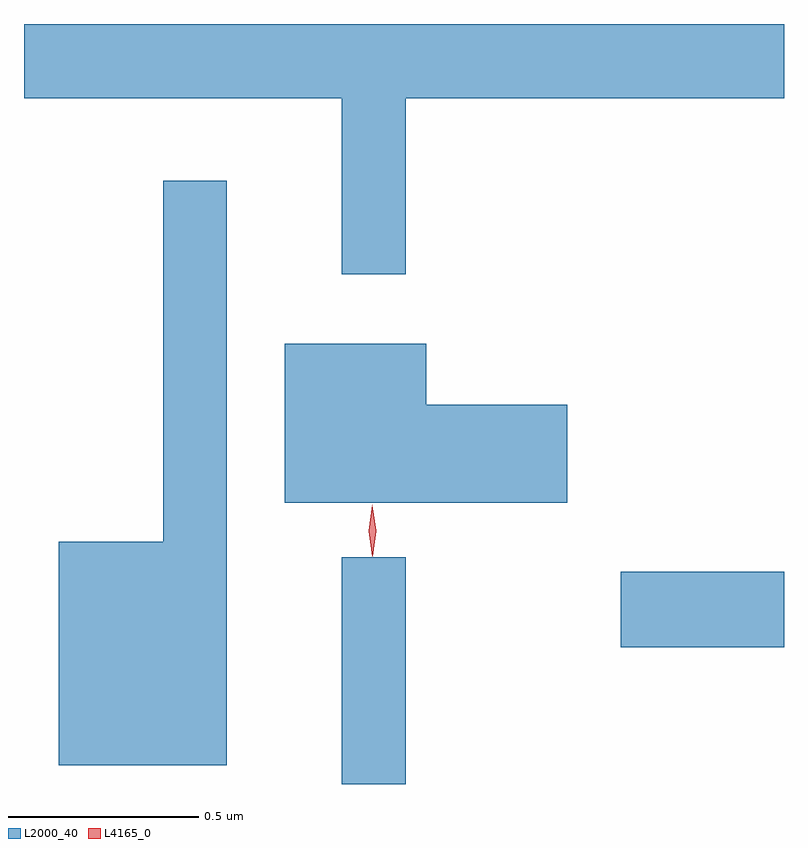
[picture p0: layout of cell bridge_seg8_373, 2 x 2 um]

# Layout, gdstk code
import gdstk
lib = gdstk.Library(unit=1e-6, precision=1e-09)
def R(c, l, rs):  # rectangles x0, y0, x1, y1
    for r in rs: c.add(gdstk.rectangle(r[:2], r[2:], *l))
def P(c, l, *ps):  # polygons
    for p in ps: c.add(gdstk.Polygon(p, *l))
L2000_40 = (2000, 40)
L4165_0 = (4165, 0)

bridge_seg8_373 = lib.new_cell('bridge_seg8_373')
R(bridge_seg8_373, L2000_40, [(762.871,1923.411,763.039,1924.008), (763.606,1923.771,764.035,1923.969)])
P(bridge_seg8_373, L2000_40, [(763.039,1925.216),(764.035,1925.216),(764.035,1925.411),(762.035,1925.411),(762.035,1925.216),(762.871,1925.216),(762.871,1924.753),(763.039,1924.753)],
  [(762.569,1924.998),(762.401,1924.998),(762.401,1924.049),(762.126,1924.049),(762.126,1923.461),(762.569,1923.461)],
  [(763.464,1924.409),(763.094,1924.409),(763.094,1924.569),(762.721,1924.569),(762.721,1924.151),(763.464,1924.151)])
P(bridge_seg8_373, L4165_0, [(762.952,1924.013),(762.952,1924.013),(762.942,1924.076),(762.951,1924.139),(762.952,1924.14),(762.952,1924.139),(762.962,1924.076),(762.953,1924.013)],
  [(762.952,1924.01),(762.952,1924.01),(762.942,1924.078),(762.951,1924.145),(762.952,1924.146),(762.952,1924.145),(762.962,1924.078),(762.953,1924.01)])

lib.write_gds('bridge_seg8_373.gds')
